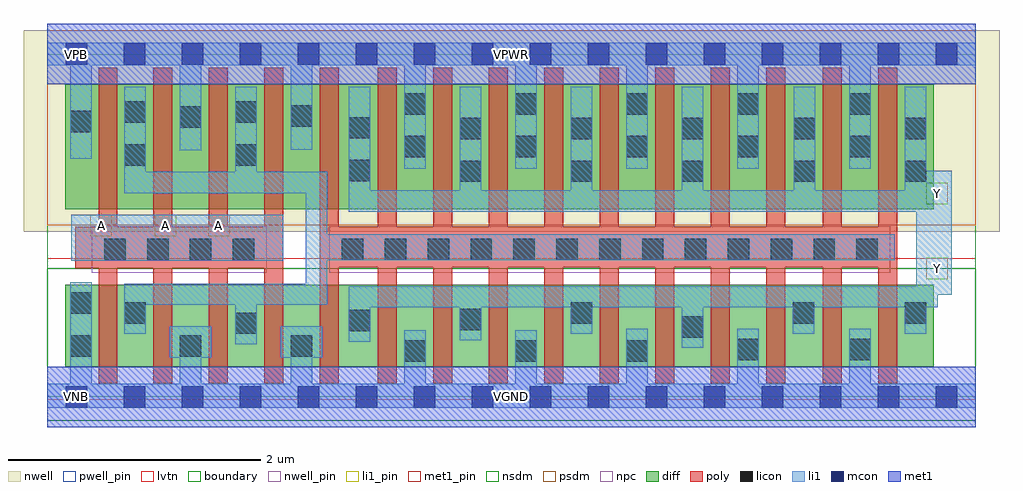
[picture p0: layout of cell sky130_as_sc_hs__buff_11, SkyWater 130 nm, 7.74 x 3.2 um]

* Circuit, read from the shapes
.subckt sky130_as_sc_hs__buff_11 A VGND VNB VPB VPWR Y
XM1 n1 A VGND VNB sky130_fd_pr__nfet_01v8_lvt w=0.65 l=0.15 m=4
XM2 Y n1 VGND VNB sky130_fd_pr__nfet_01v8_lvt w=0.65 l=0.15 m=11
XM3 n1 A VPWR VPB sky130_fd_pr__pfet_01v8 w=0.99 l=0.15 m=4
XM4 Y n1 VPWR VPB sky130_fd_pr__pfet_01v8 w=0.99 l=0.15 m=11
.ends

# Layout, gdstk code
import gdstk
lib = gdstk.Library(unit=1e-6, precision=1e-09)
def R(c, l, rs):  # rectangles x0, y0, x1, y1
    for r in rs: c.add(gdstk.rectangle(r[:2], r[2:], *l))
def A(c, l, x, y, w, h, nx, ny, dx, dy):  # array of equal rectangles
    R(c, l, [(x+i*dx, y+j*dy, x+i*dx+w, y+j*dy+h) for i in range(nx) for j in range(ny)])
nwell_pin = (64, 16)
nwell = (64, 20)
diff = (65, 20)
poly = (66, 20)
licon = (66, 44)
li1_pin = (67, 16)
li1 = (67, 20)
mcon = (67, 44)
met1_pin = (68, 16)
met1 = (68, 20)
nsdm = (93, 44)
psdm = (94, 20)
npc = (95, 20)
pwell_pin = (122, 16)
lvtn = (125, 44)
boundary = (235, 4)

sky130_as_sc_hs__buff_11 = lib.new_cell('sky130_as_sc_hs__buff_11')
R(sky130_as_sc_hs__buff_11, nwell_pin, [(0.145,2.635,0.315,2.805)])
R(sky130_as_sc_hs__buff_11, nwell, [(-0.19,1.31,7.55,2.91)])
R(sky130_as_sc_hs__buff_11, diff, [(0.14,0.24,7.03,0.89), (0.14,1.49,7.03,2.48)])
A(sky130_as_sc_hs__buff_11, poly, 0.84, 0.11, 0.15, 0.91, 3, 1, 0.44, 0)
A(sky130_as_sc_hs__buff_11, poly, 2.62, 0.11, 0.15, 0.92, 8, 1, 0.44, 0)
A(sky130_as_sc_hs__buff_11, poly, 0.84, 1.35, 0.15, 1.26, 4, 1, 0.44, 0)
A(sky130_as_sc_hs__buff_11, poly, 2.62, 1.35, 0.15, 1.26, 8, 1, 0.44, 0)
R(sky130_as_sc_hs__buff_11, poly, [(0.405,0.11,0.555,1.02), (2.16,0.11,2.31,1.03), (6.15,0.11,6.3,1.03), (6.59,0.11,6.74,1.03), (0.22,1.02,1.87,1.35), (2.16,1.03,6.74,1.35), (0.405,1.35,0.555,2.61), (6.15,1.35,6.3,2.61), (6.59,1.35,6.74,2.61)])
A(sky130_as_sc_hs__buff_11, licon, 2.83, 0.28, 0.17, 0.17, 3, 1, 0.88, 0)
A(sky130_as_sc_hs__buff_11, licon, 0.45, 1.085, 0.17, 0.17, 4, 1, 0.34, 0)
A(sky130_as_sc_hs__buff_11, licon, 2.335, 1.085, 0.17, 0.17, 13, 1, 0.34, 0)
A(sky130_as_sc_hs__buff_11, licon, 3.27, 1.705, 0.17, 0.17, 3, 2, 0.88, 0.34)
A(sky130_as_sc_hs__buff_11, licon, 2.83, 1.9, 0.17, 0.17, 4, 2, 0.88, 0.34)
R(sky130_as_sc_hs__buff_11, licon, [(5.47,0.29,5.64,0.46), (6.36,0.29,6.53,0.46), (0.18,0.32,0.35,0.49), (1.05,0.32,1.22,0.49), (1.93,0.32,2.1,0.49), (5.03,0.47,5.2,0.64), (1.49,0.5,1.66,0.67), (2.39,0.52,2.56,0.69), (3.27,0.53,3.44,0.7), (0.61,0.58,0.78,0.75), (4.15,0.58,4.32,0.75), (5.91,0.58,6.08,0.75), (6.8,0.58,6.97,0.75), (0.18,0.66,0.35,0.83), (5.92,1.705,6.09,1.875), (6.8,1.705,6.97,1.875), (2.39,1.71,2.56,1.88), (0.61,1.835,0.78,2.005), (1.49,1.835,1.66,2.005), (6.36,1.9,6.53,2.07), (5.92,2.045,6.09,2.215), (6.8,2.045,6.97,2.215), (2.39,2.05,2.56,2.22), (0.18,2.1,0.35,2.27), (1.05,2.135,1.22,2.305), (1.93,2.145,2.1,2.315), (0.61,2.175,0.78,2.345), (1.49,2.175,1.66,2.345), (6.36,2.24,6.53,2.41)])
R(sky130_as_sc_hs__buff_11, li1_pin, [(6.97,0.935,7.14,1.105), (0.34,1.275,0.51,1.445), (0.85,1.275,1.02,1.445), (1.275,1.275,1.445,1.445), (6.97,1.53,7.14,1.7)])
A(sky130_as_sc_hs__buff_11, li1, 2.39, 1.64, 0.17, 0.82, 4, 1, 0.88, 0)
A(sky130_as_sc_hs__buff_11, li1, 2.83, 1.81, 0.17, 0.82, 4, 1, 0.88, 0)
R(sky130_as_sc_hs__buff_11, li1, [(0,-0.085,7.36,0.105), (0.18,0.105,0.35,0.91), (1.05,0.105,1.22,0.31), (1.93,0.105,2.1,0.31), (2.83,0.105,3,0.53), (3.71,0.105,3.88,0.53), (4.59,0.105,4.76,0.54), (5.47,0.105,5.64,0.54), (6.36,0.105,6.53,0.54), (0.97,0.31,1.3,0.56), (1.85,0.31,2.18,0.56), (5.03,0.39,5.2,0.71), (1.49,0.42,1.66,0.73), (2.39,0.44,2.56,0.71), (3.27,0.45,3.44,0.71), (0.61,0.5,0.78,0.73), (4.15,0.5,4.32,0.71), (5.91,0.5,6.08,0.71), (6.8,0.5,6.97,0.71), (2.39,0.71,7.06,0.81), (0.61,0.73,2.22,0.9), (2.39,0.81,7.17,0.88), (6.89,0.88,7.17,1.47), (2.05,0.9,2.22,1.085), (0.19,1.08,1.87,1.445), (2.05,1.085,6.72,1.29), (2.05,1.29,2.22,1.615), (2.39,1.47,7.17,1.64), (0.61,1.615,2.22,1.785), (5.92,1.64,6.09,2.46), (6.8,1.64,7.17,1.795), (0.61,1.785,0.78,2.46), (1.49,1.785,1.66,2.46), (6.8,1.795,6.97,2.46), (6.36,1.81,6.53,2.63), (0.18,1.89,0.35,2.63), (1.05,1.955,1.22,2.63), (1.93,1.96,2.1,2.63), (0,2.63,7.36,2.81)])
A(sky130_as_sc_hs__buff_11, mcon, 0.145, -0.085, 0.17, 0.17, 16, 2, 0.46, 2.72)
R(sky130_as_sc_hs__buff_11, met1_pin, [(0,-0.24,7.36,0.24), (0.145,-0.085,0.315,0.085), (0,2.48,7.36,2.96), (0.145,2.635,0.315,2.805)])
R(sky130_as_sc_hs__buff_11, met1, [(0,-0.24,7.36,0.24), (0,2.48,7.36,2.96)])
R(sky130_as_sc_hs__buff_11, nsdm, [(0,-0.19,7.36,1.02)])
R(sky130_as_sc_hs__buff_11, psdm, [(0,1.36,7.36,2.91)])
R(sky130_as_sc_hs__buff_11, npc, [(0.35,0.985,1.74,1.355), (2.235,0.985,6.685,1.355)])
R(sky130_as_sc_hs__buff_11, pwell_pin, [(0.145,-0.085,0.315,0.085)])
R(sky130_as_sc_hs__buff_11, lvtn, [(0,-0.02,7.36,1.1)])
R(sky130_as_sc_hs__buff_11, boundary, [(0,0,7.36,2.72)])
sky130_as_sc_hs__buff_11.add(gdstk.Label('VNB', (0.23,0), layer=64, texttype=59))
sky130_as_sc_hs__buff_11.add(gdstk.Label('VPB', (0.23,2.72), layer=64, texttype=5))
sky130_as_sc_hs__buff_11.add(gdstk.Label('A', (0.935,1.36), layer=67, texttype=5))
sky130_as_sc_hs__buff_11.add(gdstk.Label('A', (1.36,1.36), layer=67, texttype=5))
sky130_as_sc_hs__buff_11.add(gdstk.Label('Y', (7.055,1.615), layer=67, texttype=5))
sky130_as_sc_hs__buff_11.add(gdstk.Label('Y', (7.055,1.02), layer=67, texttype=5))
sky130_as_sc_hs__buff_11.add(gdstk.Label('A', (0.425,1.36), layer=67, texttype=5))
sky130_as_sc_hs__buff_11.add(gdstk.Label('VPB', (0.23,2.72), layer=64, texttype=5))
sky130_as_sc_hs__buff_11.add(gdstk.Label('VPWR', (3.68,2.72), layer=68, texttype=5))
sky130_as_sc_hs__buff_11.add(gdstk.Label('VPWR', (0.23,2.72), layer=68, texttype=5))
sky130_as_sc_hs__buff_11.add(gdstk.Label('VGND', (3.68,0), layer=68, texttype=5))
sky130_as_sc_hs__buff_11.add(gdstk.Label('VGND', (0.23,0), layer=68, texttype=5))
sky130_as_sc_hs__buff_11.add(gdstk.Label('VNB', (0.23,0), layer=64, texttype=59))
sky130_as_sc_hs__buff_11.add(gdstk.Label('A', (0.425,1.36), layer=67, texttype=5))
sky130_as_sc_hs__buff_11.add(gdstk.Label('A', (1.36,1.36), layer=67, texttype=5))
sky130_as_sc_hs__buff_11.add(gdstk.Label('A', (0.935,1.36), layer=67, texttype=5))
sky130_as_sc_hs__buff_11.add(gdstk.Label('Y', (7.055,1.02), layer=67, texttype=5))
sky130_as_sc_hs__buff_11.add(gdstk.Label('Y', (7.055,1.615), layer=67, texttype=5))

lib.write_gds('sky130_as_sc_hs__buff_11.gds')
